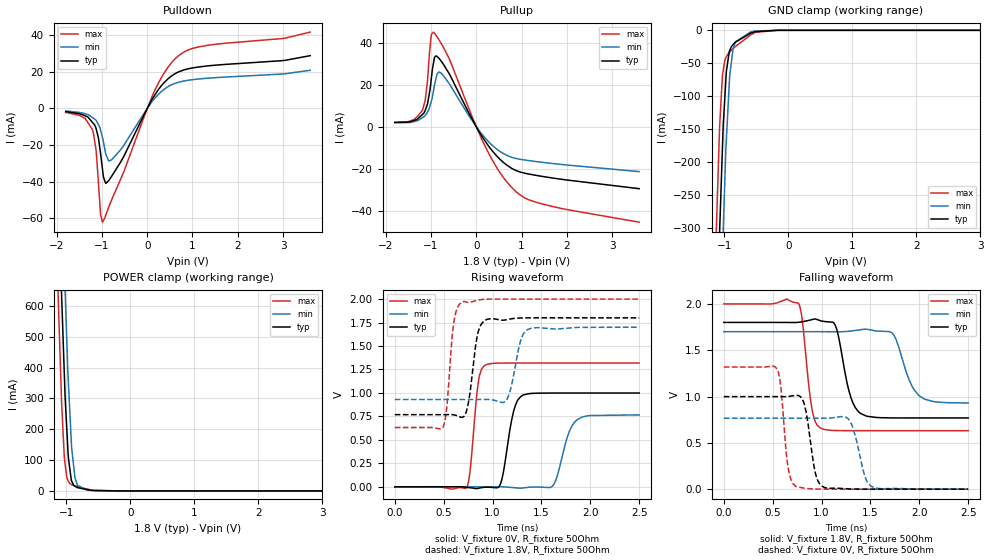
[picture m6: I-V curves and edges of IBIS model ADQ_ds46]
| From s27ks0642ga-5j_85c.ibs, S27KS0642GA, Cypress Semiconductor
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[Model]   ADQ_ds46
Model_type   I/O
Polarity   Non-Inverting
Enable   Active-High
Vinl = 0.54
Vinh = 1.26
Vmeas = 0.9
Vref = 0.9
Cref = 15pF
|   typ   min   max
C_comp   1.03pF   1.01pF   1.05pF
[Voltage Range]   1.8   1.7   2
[Temperature Range]   25   85   -40
[Pullup Reference]   1.8   1.7   2
[Pulldown Reference]   0   0   0
[Power Clamp Reference]   1.8   1.7   2
[GND Clamp Reference]   0   0   0
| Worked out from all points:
|   slope of the pulldown table from 0 to 0.27 V, typ, clamps not added: 24.6 ohm
|   slope of the pullup table from 0 to 0.27 V, typ, clamps not added: 29.6 ohm
|   falling waveform, V_fixture 1.8V, R_fixture 50Ohm: 20-80 % time 121ps typ, 155ps min, 82.8ps max; typ from 1.8 V to 0.769 V
|   rising waveform, V_fixture 0V, R_fixture 50Ohm: 20-80 % time 96.1ps typ, 124ps min, 67.4ps max; typ from 0 V to 0.999 V
|   rising waveform, V_fixture 1.8V, R_fixture 50Ohm: 20-80 % time 75.6ps typ, 89.8ps min, 63.6ps max; typ from 0.769 V to 1.8 V
|   falling waveform, V_fixture 0V, R_fixture 50Ohm: 20-80 % time 84.1ps typ, 105ps min, 65.5ps max; typ from 0.999 V to 0 V
[Pulldown]
|   Voltage   I(typ)   I(min)   I(max)
-1.8V     -1.769mA   -1.423mA   -2.199mA
-1.372V   -4.072mA   -2.978mA   -5.482mA
-1.212V   -7.594mA   -4.966mA   -11.52mA
-1.128V   -11.23mA   -6.599mA   -23.14mA
-1.03V    -24.78mA   -11.99mA   -58.09mA
-990mV    -32.86mA   -15.83mA   -62.06mA
-917.7mV  -40.83mA   -24.75mA   -58.32mA
-783.4mV  -36.91mA   -28.01mA   -49.71mA
160.2mV   6.989mA    5.367mA    9.417mA
660mV     19.5mA     14.01mA    28.03mA
1.118V    22.49mA    15.96mA    33.4mA
3.6V      28.73mA    20.76mA    41.58mA
[GND Clamp]
|   Voltage   I(typ)   I(min)   I(max)
-1.8V     -3.484A    -3.673A    -3.305A
-1.128V   -497.4mA   -691.2mA   -309.9mA
-1.11V    -431.7mA   -620.5mA   -254.2mA
-1.072V   -300.3mA   -484mA     -142.6mA
-1.03V    -178.1mA   -339.9mA   -68.42mA
-1.017V   -143.1mA   -301mA     -60.41mA
-968.4mV  -61.86mA   -164.8mA   -40.2mA
-917.7mV  -30.97mA   -69.9mA    -32.9mA
-865mV    -21.71mA   -28.56mA   -27.85mA
-826.2mV  -17.88mA   -17.49mA   -24.44mA
-591.3mV  -4.334mA   -2.642mA   -7.042mA
3.6V      0A         0A         0A
[Pullup]
|   Voltage   I(typ)   I(min)   I(max)
-1.8V     2.031mA    1.933mA    2.08mA
-1.188V   5.804mA    4.345mA    7.85mA
-1.128V   7.692mA    5.263mA    12.5mA
-1.076V   10.88mA    6.986mA    21.85mA
-992mV    22.96mA    12.1mA     43.76mA
-946mV    30.1mA     16.92mA    44.97mA
-866.7mV  33.39mA    24.97mA    42.77mA
-784mV    31.47mA    25.62mA    39.93mA
255.3mV   -8.686mA   -6.72mA    -11.78mA
872mV     -20.74mA   -15.06mA   -30.72mA
1.55V     -23.91mA   -17.14mA   -37.17mA
3.6V      -29.43mA   -21.32mA   -45.35mA
[POWER Clamp]
|   Voltage   I(typ)   I(min)   I(max)
-1.8V     6.849A     7.225A     6.488A
-1.134V   1.066A     1.47A      676.5mA
-1.126V   1.011A     1.41A      620.8mA
-1.074V   636.9mA    1.023A     287.5mA
-1.031V   378.8mA    727.7mA    109.6mA
-1.017V   296mA      638.3mA    83.12mA
-968.4mV  108.3mA    353.5mA    32.12mA
-916.2mV  31.37mA    138.8mA    20.03mA
-865mV    15.17mA    42.71mA    16.14mA
-827.6mV  10.84mA    18.89mA    13.93mA
-674.6mV  4.098mA    2.917mA    6.117mA
3.6V      0A         0A         0A
[Ramp]
R_load = 50
|   typ   min   max
dV/dt_r 5.9945E-01/9.5996E-11   4.5966E-01/1.2344E-10   7.9131E-01/6.7322E-11
dV/dt_f 6.1883E-01/1.2137E-10   4.6171E-01/1.5484E-10   8.2126E-01/8.2569E-11
[Falling Waveform]
V_fixture = 1.8V
V_fixture_min = 1.7V
V_fixture_max = 2V
R_fixture = 50Ohm
C_fixture = 0F
|   Time   V(typ)   V(min)   V(max)
0s        1.8V       1.7V       2V
765ps     1.802V     1.7V       2.003V
900ps     1.83V      1.7V       878.3mV
990ps     1.818V     1.7V       659mV
1.14ns    1.77V      1.699V     633.2mV
1.28ns    1.062V     1.705V     631.5mV
1.4ns     817.2mV    1.721V     631.3mV
1.725ns   769.3mV    1.683V     631.2mV
2ns       768.6mV    1.008V     631.2mV
2.5ns     768.6mV    930.5mV    631.2mV
[Rising Waveform]
V_fixture = 0V
V_fixture_min = 0V
V_fixture_max = 0V
R_fixture = 50Ohm
C_fixture = 0F
|   Time   V(typ)   V(min)   V(max)
0s        0V         0V         0V
735ps     -5.556mV   0V         -10.17mV
855ps     -16.47mV   -7.558uV   1.116V
935ps     -4.267mV   -10.97uV   1.302V
1.08ns    28.77mV    427.5uV    1.318V
1.215ns   802.5mV    -8.755mV   1.319V
1.295ns   965.4mV    -14.82mV   1.319V
1.61ns    998.7mV    3.271mV    1.319V
1.87ns    999mV      718.2mV    1.319V
2.5ns     999.1mV    766.1mV    1.319V
[Rising Waveform]
V_fixture = 1.8V
V_fixture_min = 1.7V
V_fixture_max = 2V
R_fixture = 50Ohm
C_fixture = 0F
|   Time   V(typ)   V(min)   V(max)
0s        768.6mV    930.1mV    631.2mV
495ps     768.6mV    930.1mV    637.8mV
530ps     768.9mV    930.1mV    828.6mV
605ps     766.4mV    930.1mV    1.76V
690ps     740.8mV    930.1mV    1.969V
850ps     1.637V     930mV      1.989V
915ps     1.768V     930.6mV    1.998V
1.14ns    1.779V     919.1mV    2V
1.365ns   1.8V       1.678V     2V
2.5ns     1.8V       1.7V       2V
[Falling Waveform]
|Gnd
V_fixture = 0V
V_fixture_min = 0V
V_fixture_max = 0V
R_fixture = 50Ohm
C_fixture = 0F
|   Time   V(typ)   V(min)   V(max)
0s        999.1mV    766.2mV    1.319V
545ps     999.1mV    766.2mV    1.297V
655ps     999.9mV    766.2mV    251mV
735ps     1.013V     766.2mV    31.34mV
825ps     911.5mV    766.2mV    11.2mV
925ps     232.8mV    766.2mV    2.073mV
1.005ns   32.15mV    766.2mV    472.9uV
1.29ns    2.633mV    735.5mV    3.135uV
1.515ns   99.98uV    27.04mV    -513.6nV
2.5ns     0V         2.44uV     0V
